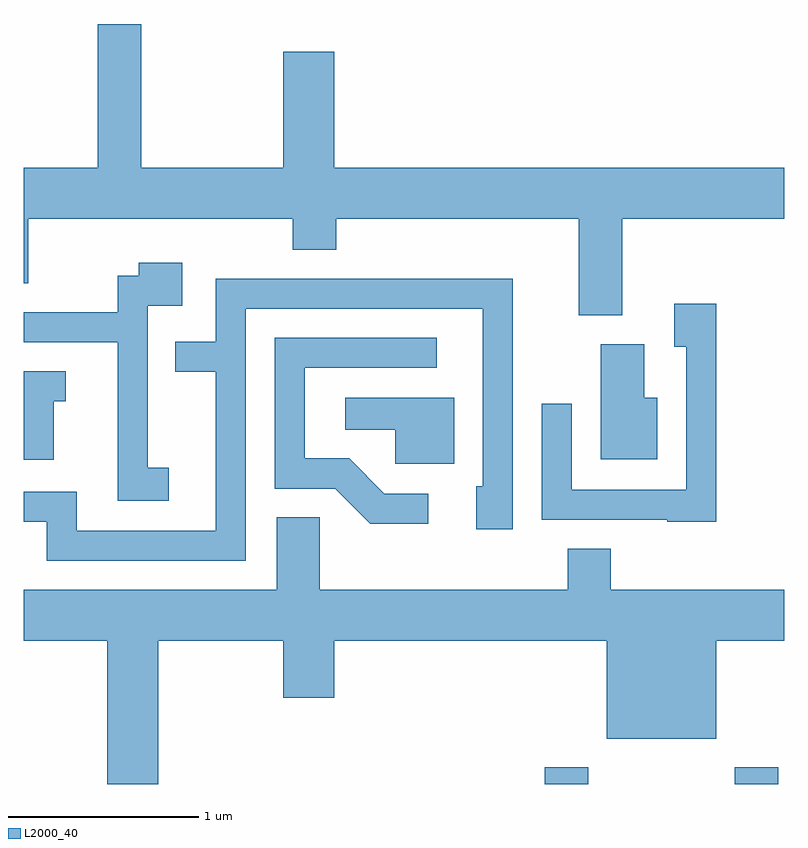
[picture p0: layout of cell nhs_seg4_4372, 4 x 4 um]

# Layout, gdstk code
import gdstk
lib = gdstk.Library(unit=1e-6, precision=1e-09)
def R(c, l, rs):  # rectangles x0, y0, x1, y1
    for r in rs: c.add(gdstk.rectangle(r[:2], r[2:], *l))
def P(c, l, *ps):  # polygons
    for p in ps: c.add(gdstk.Polygon(p, *l))
L2000_40 = (2000, 40)

nhs_seg4_4372 = lib.new_cell('nhs_seg4_4372')
R(nhs_seg4_4372, L2000_40, [(316.351,1293.982,316.579,1294.069), (317.351,1293.982,317.579,1294.069)])
P(nhs_seg4_4372, L2000_40, [(316.759,1296.956),(317.611,1296.956),(317.611,1297.224),(315.244,1297.224),(315.244,1297.834),(314.976,1297.834),(314.976,1297.224),(314.229,1297.224),(314.229,1297.979),(314.001,1297.979),(314.001,1297.224),(313.611,1297.224),(313.611,1296.616),(313.634,1296.616),(313.634,1296.956),(315.026,1296.956),(315.026,1296.791),(315.254,1296.791),(315.254,1296.956),(316.531,1296.956),(316.531,1296.446),(316.759,1296.446)],
  [(314.374,1295.644),(314.264,1295.644),(314.264,1296.496),(314.444,1296.496),(314.444,1296.724),(314.216,1296.724),(314.216,1296.654),(314.106,1296.654),(314.106,1296.464),(313.611,1296.464),(313.611,1296.306),(314.106,1296.306),(314.106,1295.471),(314.374,1295.471)],
  [(314.779,1296.481),(316.026,1296.481),(316.026,1295.549),(315.991,1295.549),(315.991,1295.321),(316.184,1295.321),(316.184,1296.639),(314.621,1296.639),(314.621,1296.309),(314.408,1296.309),(314.408,1296.151),(314.621,1296.151),(314.621,1295.314),(313.889,1295.314),(313.889,1295.519),(313.611,1295.519),(313.611,1295.361),(313.731,1295.361),(313.731,1295.156),(314.779,1295.156)],
  [(317.254,1296.509),(317.031,1296.509),(317.031,1296.281),(317.096,1296.281),(317.096,1295.529),(316.494,1295.529),(316.494,1295.983),(316.336,1295.983),(316.336,1295.371),(316.995,1295.371),(316.995,1295.361),(317.254,1295.361)],
  [(315.738,1295.509),(315.507,1295.509),(315.322,1295.694),(315.089,1295.694),(315.089,1296.171),(315.783,1296.171),(315.783,1296.329),(314.931,1296.329),(314.931,1295.536),(315.249,1295.536),(315.434,1295.351),(315.738,1295.351)],
  [(316.944,1296.014),(316.874,1296.014),(316.874,1296.294),(316.646,1296.294),(316.646,1295.691),(316.944,1295.691)],
  [(313.769,1295.996),(313.833,1295.996),(313.833,1296.154),(313.611,1296.154),(313.611,1295.686),(313.769,1295.686)],
  [(315.874,1296.014),(315.303,1296.014),(315.303,1295.846),(315.566,1295.846),(315.566,1295.666),(315.874,1295.666)],
  [(314.319,1294.736),(314.976,1294.736),(314.976,1294.436),(315.244,1294.436),(315.244,1294.736),(316.676,1294.736),(316.676,1294.221),(317.254,1294.221),(317.254,1294.736),(317.611,1294.736),(317.611,1295.004),(316.699,1295.004),(316.699,1295.219),(316.471,1295.219),(316.471,1295.004),(315.169,1295.004),(315.169,1295.384),(314.941,1295.384),(314.941,1295.004),(313.611,1295.004),(313.611,1294.736),(314.051,1294.736),(314.051,1293.982),(314.319,1293.982)])

lib.write_gds('nhs_seg4_4372.gds')
